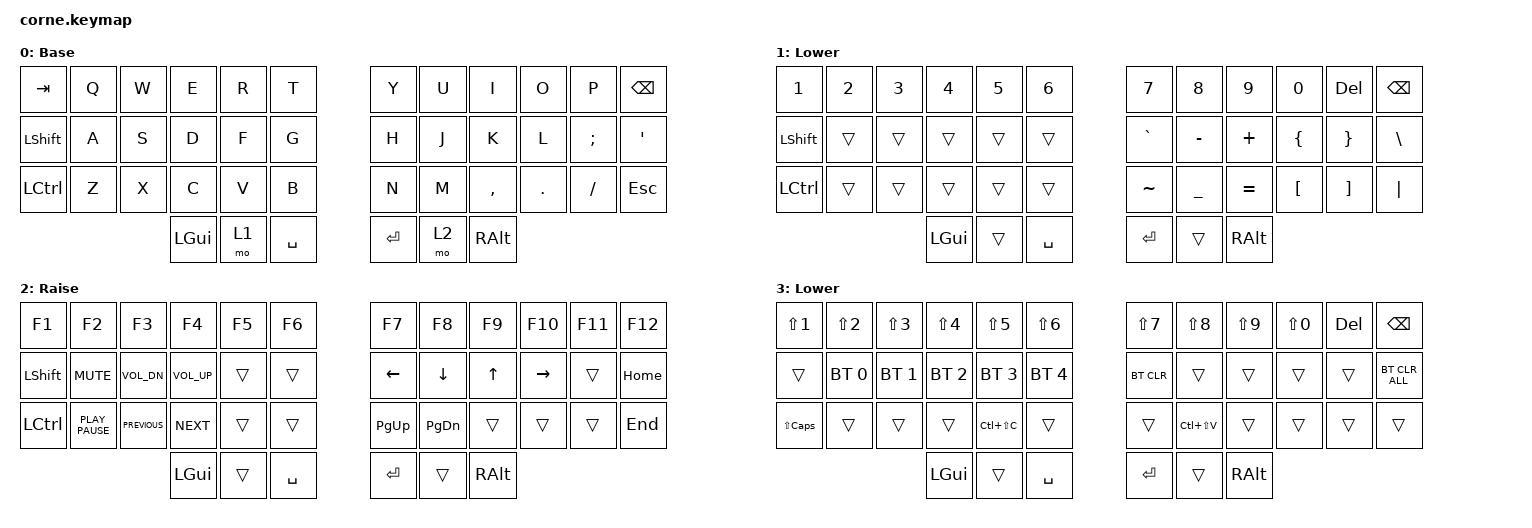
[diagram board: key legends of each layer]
/*
 * Copyright (c) 2020 The ZMK Contributors
 *
 * SPDX-License-Identifier: MIT
 */

#include <behaviors.dtsi>
#include <dt-bindings/zmk/bt.h>
#include <dt-bindings/zmk/keys.h>

/ {
    keymap {
        compatible = "zmk,keymap";

        default_layer {
            // -----------------------------------------------------------------------------------------
            // |  TAB |  Q  |  W  |  E  |  R  |  T  |   |  Y  |  U   |  I  |  O  |  P  | BKSP |
            // | CTRL |  A  |  S  |  D  |  F  |  G  |   |  H  |  J   |  K  |  L  |  ;  |  '   |
            // | SHFT |  Z  |  X  |  C  |  V  |  B  |   |  N  |  M   |  ,  |  .  |  /  | ESC  |
            //                    | GUI | LWR | SPC |   | ENT | RSE  | ALT |

            display-name = "Base";
            bindings = <
&kp TAB         &kp Q  &kp W  &kp E     &kp R  &kp T        &kp Y    &kp U  &kp I      &kp O    &kp P     &kp BSPC
&kp LEFT_SHIFT  &kp A  &kp S  &kp D     &kp F  &kp G        &kp H    &kp J  &kp K      &kp L    &kp SEMI  &kp SQT
&kp LCTRL       &kp Z  &kp X  &kp C     &kp V  &kp B        &kp N    &kp M  &kp COMMA  &kp DOT  &kp FSLH  &kp ESC
                              &kp LGUI  &mo 1  &kp SPACE    &kp RET  &mo 2  &kp RALT
            >;
        };

        lower_layer {
            // -----------------------------------------------------------------------------------------
            // |  TAB |  1  |  2  |  3  |  4  |  5  |   |  6  |  7  |  8  |  9  |  0  | BKSP |
            // | BTCLR| BT1 | BT2 | BT3 | BT4 | BT5 |   | LFT | DWN |  UP | RGT |     |      |
            // | SHFT |     |     |     |     |     |   |     |     |     |     |     |      |
            //                    | GUI |     | SPC |   | ENT |     | ALT |

            display-name = "Lower";
            bindings = <
&kp NUMBER_1    &kp NUMBER_2  &kp NUMBER_3  &kp NUMBER_4  &kp NUMBER_5  &kp NUMBER_6    &kp NUMBER_7  &kp NUMBER_8    &kp NUMBER_9  &kp NUMBER_0      &kp DEL            &kp BSPC
&kp LEFT_SHIFT  &trans        &trans        &trans        &trans        &trans          &kp GRAVE     &kp MINUS       &kp PLUS      &kp LEFT_BRACE    &kp RIGHT_BRACE    &kp BACKSLASH
&kp LCTRL       &trans        &trans        &trans        &trans        &trans          &kp TILDE     &kp UNDERSCORE  &kp EQUAL     &kp LEFT_BRACKET  &kp RIGHT_BRACKET  &kp PIPE
                                            &kp LGUI      &trans        &kp SPACE       &kp RET       &trans          &kp RALT
            >;
        };

        raise_layer {
            // -----------------------------------------------------------------------------------------
            // |  TAB |  !  |  @  |  #  |  $  |  %  |   |  ^  |  &  |  *  |  (  |  )  | BKSP |
            // | CTRL |     |     |     |     |     |   |  -  |  =  |  [  |  ]  |  \  |  `   |
            // | SHFT |     |     |     |     |     |   |  _  |  +  |  {  |  }  | "|" |  ~   |
            //                    | GUI |     | SPC |   | ENT |     | ALT |

            display-name = "Raise";
            bindings = <
&kp F1      &kp F2            &kp F3          &kp F4           &kp F5  &kp F6       &kp F7       &kp F8          &kp F9        &kp F10    &kp F11  &kp F12
&kp LSHIFT  &kp K_MUTE        &kp C_VOL_DN    &kp C_VOLUME_UP  &trans  &trans       &kp LEFT     &kp DOWN_ARROW  &kp UP_ARROW  &kp RIGHT  &trans   &kp HOME
&kp LCTRL   &kp K_PLAY_PAUSE  &kp C_PREVIOUS  &kp C_NEXT       &trans  &trans       &kp PAGE_UP  &kp PAGE_DOWN   &trans        &trans     &trans   &kp END
                                              &kp LGUI         &trans  &kp SPACE    &kp RET      &trans          &kp RALT
            >;
        };

        deep_layer {
            display-name = "Lower";
            bindings = <
&kp LS(NUMBER_1)  &kp LS(NUMBER_2)  &kp LS(NUMBER_3)  &kp LS(NUMBER_4)  &kp LS(NUMBER_5)  &kp LS(NUMBER_6)    &kp LS(NUMBER_7)  &kp LS(NUMBER_8)  &kp LS(NUMBER_9)  &kp LS(NUMBER_0)  &kp DEL  &kp BSPC
&trans            &bt BT_SEL 0      &bt BT_SEL 1      &bt BT_SEL 2      &bt BT_SEL 3      &bt BT_SEL 4        &bt BT_CLR        &trans            &trans            &trans            &trans   &bt BT_CLR_ALL
&kp LS(CAPS)      &trans            &trans            &trans            &kp LC(LS(C))     &trans              &trans            &kp LC(LS(V))     &trans            &trans            &trans   &trans
                                                      &kp LGUI          &trans            &kp SPACE           &kp RET           &trans            &kp RALT
            >;
        };
    };

    conditional_layers {
        compatible = "zmk,conditional-layers";

        Combine {
            if-layers = <1 2>;
            then-layer = <3>;
        };
    };
};
